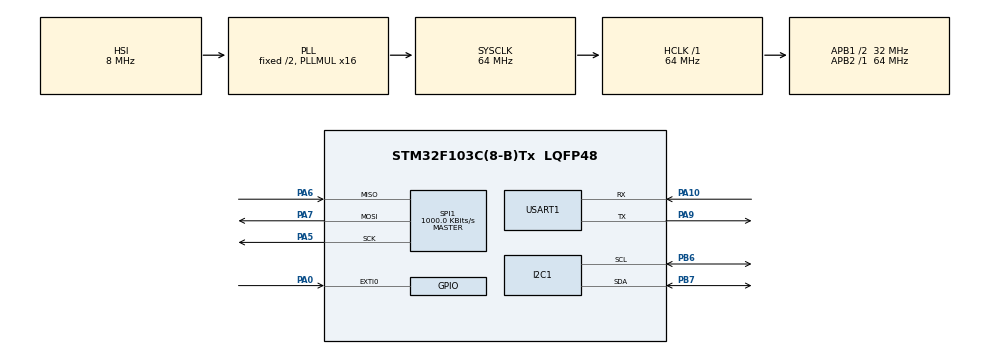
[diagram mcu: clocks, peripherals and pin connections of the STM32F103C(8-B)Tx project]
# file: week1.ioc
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FREERTOS.BinarySemaphores01=SensorSem,Dynamic,NULL,Depleted
FREERTOS.Events01=DisplayEvent,Dynamic,NULL
FREERTOS.Queues01=sensorQueue,1,12,1,Dynamic,NULL,NULL;shellQueue,4,32,1,Dynamic,NULL,NULL
FREERTOS.Tasks01=SensorTask,24,512,StartSensorTask,Default,NULL,Dynamic,NULL,NULL;DisplayTask,16,512,StartDisplayTask,Default,NULL,Dynamic,NULL,NULL;MonitorTask,8,256,StartMonitorTask,Default,NULL,Dynamic,NULL,NULL;ShellTask,8,256,StartShellTask,Default,NULL,Dynamic,NULL,NULL
FREERTOS.Timers01=SensorTimer,SensorTimerCallback,osTimerPeriodic,Default,NULL,Dynamic,NULL
FREERTOS.configTOTAL_HEAP_SIZE=8192
Mcu.Family=STM32F1
Mcu.Name=STM32F103C(8-B)Tx
Mcu.Package=LQFP48
NVIC.EXTI0_IRQn=true\:5\:0\:false\:false\:true\:true\:true\:true\:true
NVIC.PriorityGroup=NVIC_PRIORITYGROUP_4
NVIC.TIM2_IRQn=true\:15\:0\:false\:false\:true\:false\:false\:true\:true
NVIC.TimeBase=TIM2_IRQn
NVIC.TimeBaseIP=TIM2
NVIC.USART1_IRQn=true\:5\:0\:false\:false\:true\:true\:true\:true\:true
PA0-WKUP.GPIO_ModeDefaultEXTI=GPIO_MODE_IT_FALLING
PA0-WKUP.GPIO_PuPd=GPIO_PULLUP
PA0-WKUP.Signal=GPXTI0
PA10.Mode=Asynchronous
PA10.Signal=USART1_RX
PA13.Mode=Serial_Wire
PA13.Signal=SYS_JTMS-SWDIO
PA14.Mode=Serial_Wire
PA14.Signal=SYS_JTCK-SWCLK
PA5.Mode=Full_Duplex_Master
PA5.Signal=SPI1_SCK
PA6.Mode=Full_Duplex_Master
PA6.Signal=SPI1_MISO
PA7.Mode=Full_Duplex_Master
PA7.Signal=SPI1_MOSI
PA9.Mode=Asynchronous
PA9.Signal=USART1_TX
PB6.Mode=I2C
PB6.Signal=I2C1_SCL
PB7.Mode=I2C
PB7.Signal=I2C1_SDA
ProjectManager.HeapSize=0x200
ProjectManager.StackSize=0x400
ProjectManager.TargetToolchain=CMake
RCC.AHBFreq_Value=64000000
RCC.APB1CLKDivider=RCC_HCLK_DIV2
RCC.APB1Freq_Value=32000000
RCC.APB1TimFreq_Value=64000000
RCC.APB2Freq_Value=64000000
RCC.APB2TimFreq_Value=64000000
RCC.HCLKFreq_Value=64000000
RCC.PLLMUL=RCC_PLL_MUL16
RCC.SYSCLKFreq_VALUE=64000000
RCC.SYSCLKSource=RCC_SYSCLKSOURCE_PLLCLK
RCC.USBFreq_Value=64000000
SPI1.BaudRatePrescaler=SPI_BAUDRATEPRESCALER_64
SPI1.CalculateBaudRate=1000.0 KBits/s
SPI1.Direction=SPI_DIRECTION_2LINES
SPI1.Mode=SPI_MODE_MASTER
SPI1.VirtualType=VM_MASTER
USART1.VirtualMode=VM_ASYNC
VP_FREERTOS_VS_CMSIS_V2.Mode=CMSIS_V2
VP_SYS_VS_tim2.Mode=TIM2
board=custom

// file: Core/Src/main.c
/* USER CODE BEGIN Header */
/**
  ******************************************************************************
  * @file           : main.c
  * @brief          : Main program body
  ******************************************************************************
  * @attention
  *
  * Copyright (c) 2026 STMicroelectronics.
  * All rights reserved.
  *
  * This software is licensed under terms that can be found in the LICENSE file
  * in the root directory of this software component.
  * If no LICENSE file comes with this software, it is provided AS-IS.
  *
  ******************************************************************************
  */
/* USER CODE END Header */
#include "main.h"
#include "cmsis_os.h"
#include "i2c.h"
#include "spi.h"
#include "usart.h"
#include "gpio.h"

/* USER CODE BEGIN Includes */
#include <stdio.h>
#include <stdlib.h>

#include "app_config.h"
#include "bme280.h"
#include "oled.h"
#include "app_shared.h"

/* USER CODE END Includes */

/* USER CODE BEGIN PV */
uint32_t g_lastKeyTick = 0;
/* USER CODE END PV */

void SystemClock_Config(void);
void MX_FREERTOS_Init(void);

/* USER CODE BEGIN 0 */
void I2C_Scan(void);

/* USER CODE END 0 */

int main(void)
{

  /* MCU Configuration--------------------------------------------------------*/

  /* Reset of all peripherals, Initializes the Flash interface and the Systick. */
  HAL_Init();

  /* Configure the system clock */
  SystemClock_Config();

  /* Initialize all configured peripherals */
  MX_GPIO_Init();
  MX_I2C1_Init();
  MX_SPI1_Init();
  MX_USART1_UART_Init();
  /* USER CODE BEGIN 2 */
  BME280_Init();
  OLED_Init();
  OLED_Clear();
  Config_Init();

  /* USER CODE END 2 */

  /* Init scheduler */
  osKernelInitialize();  /* Call init function for freertos objects (in cmsis_os2.c) */
  MX_FREERTOS_Init();

  /* Start scheduler */
  osKernelStart();

  /* We should never get here as control is now taken by the scheduler */

  /* Infinite loop */
  while(1)
  {

  }
}

void SystemClock_Config(void)
{
  RCC_OscInitTypeDef RCC_OscInitStruct = {0};
  RCC_ClkInitTypeDef RCC_ClkInitStruct = {0};

  /** Initializes the RCC Oscillators according to the specified parameters
  * in the RCC_OscInitTypeDef structure.
  */
  RCC_OscInitStruct.OscillatorType = RCC_OSCILLATORTYPE_HSI;
  RCC_OscInitStruct.HSIState = RCC_HSI_ON;
  RCC_OscInitStruct.HSICalibrationValue = RCC_HSICALIBRATION_DEFAULT;
  RCC_OscInitStruct.PLL.PLLState = RCC_PLL_ON;
  RCC_OscInitStruct.PLL.PLLSource = RCC_PLLSOURCE_HSI_DIV2;
  RCC_OscInitStruct.PLL.PLLMUL = RCC_PLL_MUL16;
  if (HAL_RCC_OscConfig(&RCC_OscInitStruct) != HAL_OK)
  {
    Error_Handler();
  }

  /** Initializes the CPU, AHB and APB buses clocks
  */
  RCC_ClkInitStruct.ClockType = RCC_CLOCKTYPE_HCLK|RCC_CLOCKTYPE_SYSCLK
                              |RCC_CLOCKTYPE_PCLK1|RCC_CLOCKTYPE_PCLK2;
  RCC_ClkInitStruct.SYSCLKSource = RCC_SYSCLKSOURCE_PLLCLK;
  RCC_ClkInitStruct.AHBCLKDivider = RCC_SYSCLK_DIV1;
  RCC_ClkInitStruct.APB1CLKDivider = RCC_HCLK_DIV2;
  RCC_ClkInitStruct.APB2CLKDivider = RCC_HCLK_DIV1;

  if (HAL_RCC_ClockConfig(&RCC_ClkInitStruct, FLASH_LATENCY_2) != HAL_OK)
  {
    Error_Handler();
  }
}

/* USER CODE BEGIN 4 */
void I2C_Scan(void)
{
  for(uint8_t addr = 1; addr < 128; addr++)
  {
    if(HAL_I2C_IsDeviceReady(
            &hi2c1,
            addr << 1,
            2,
            10) == HAL_OK)
    {
      printf("Found:0x%02X\r\n", addr);
    }
  }
}

void HAL_GPIO_EXTI_Callback(uint16_t GPIO_Pin)
{
  if(GPIO_Pin == GPIO_PIN_0)
  {
    uint32_t now = HAL_GetTick();

    if(now - g_lastKeyTick < 50)
    {
      return;
    }

    g_lastKeyTick = now;

    osEventFlagsSet(
        DisplayEventHandle,
        DISPLAY_EVENT_KEY);
  }
}

/* USER CODE END 4 */

void HAL_TIM_PeriodElapsedCallback(TIM_HandleTypeDef *htim)
{
  if (htim->Instance == TIM2)
  {
    HAL_IncTick();
  }
}

void Error_Handler(void)
{
  __disable_irq();
  while (1)
  {
  }
}

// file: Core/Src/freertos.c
/* USER CODE BEGIN Header */
/**
  ******************************************************************************
  * File Name          : freertos.c
  * Description        : Code for freertos applications
  ******************************************************************************
  * @attention
  *
  * Copyright (c) 2026 STMicroelectronics.
  * All rights reserved.
  *
  * This software is licensed under terms that can be found in the LICENSE file
  * in the root directory of this software component.
  * If no LICENSE file comes with this software, it is provided AS-IS.
  *
  ******************************************************************************
  */
/* USER CODE END Header */

#include "FreeRTOS.h"
#include "task.h"
#include "main.h"
#include "cmsis_os.h"

/* USER CODE BEGIN Includes */
#include <stdio.h>

#include "app_display.h"
#include "app_logger.h"
#include "app_sensor.h"
#include "bme280.h"
#include "app_shared.h"
#include "app_shell.h"
#include "oled.h"

/* USER CODE END Includes */

/* USER CODE BEGIN Variables */

osMutexId_t I2CMutex;

volatile uint8_t g_displayPage = 0;

static StaticTask_t SensorTaskControlBlock;
static StackType_t SensorTaskStack[512];
static StaticTask_t DisplayTaskControlBlock;
static StackType_t DisplayTaskStack[512];
static StaticQueue_t SensorQueueControlBlock;
static uint8_t SensorQueueStorage[sizeof(BME280_Data_t)];
/* USER CODE END Variables */
/* Definitions for SensorTask */
osThreadId_t SensorTaskHandle;
const osThreadAttr_t SensorTask_attributes = {
  .name = "SensorTask",
  .stack_size = 512 * 4,
  .priority = (osPriority_t) osPriorityNormal,
};
/* Definitions for DisplayTask */
osThreadId_t DisplayTaskHandle;
const osThreadAttr_t DisplayTask_attributes = {
  .name = "DisplayTask",
  .stack_size = 512 * 4,
  .priority = (osPriority_t) osPriorityBelowNormal,
};
/* Definitions for MonitorTask */
osThreadId_t MonitorTaskHandle;
const osThreadAttr_t MonitorTask_attributes = {
  .name = "MonitorTask",
  .stack_size = 256 * 4,
  .priority = (osPriority_t) osPriorityLow,
};
/* Definitions for ShellTask */
osThreadId_t ShellTaskHandle;
const osThreadAttr_t ShellTask_attributes = {
  .name = "ShellTask",
  .stack_size = 256 * 4,
  .priority = (osPriority_t) osPriorityLow,
};
/* Definitions for sensorQueue */
osMessageQueueId_t sensorQueueHandle;
const osMessageQueueAttr_t sensorQueue_attributes = {
  .name = "sensorQueue"
};
/* Definitions for shellQueue */
osMessageQueueId_t shellQueueHandle;
const osMessageQueueAttr_t shellQueue_attributes = {
  .name = "shellQueue"
};
/* Definitions for SensorTimer */
osTimerId_t SensorTimerHandle;
const osTimerAttr_t SensorTimer_attributes = {
  .name = "SensorTimer"
};
/* Definitions for SensorSem */
osSemaphoreId_t SensorSemHandle;
const osSemaphoreAttr_t SensorSem_attributes = {
  .name = "SensorSem"
};
/* Definitions for DisplayEvent */
osEventFlagsId_t DisplayEventHandle;
const osEventFlagsAttr_t DisplayEvent_attributes = {
  .name = "DisplayEvent"
};

/* USER CODE BEGIN FunctionPrototypes */
static void CheckThreadCreated(osThreadId_t thread, const char *name);

/* USER CODE END FunctionPrototypes */

void StartSensorTask(void *argument);
void StartDisplayTask(void *argument);
void StartMonitorTask(void *argument);
void StartShellTask(void *argument);
void SensorTimerCallback(void *argument);

void MX_FREERTOS_Init(void); /* (MISRA C 2004 rule 8.1) */

void MX_FREERTOS_Init(void) {

  /* USER CODE BEGIN RTOS_MUTEX */
  /* add mutexes, ... */
  const osMutexAttr_t I2CMutex_attributes =
  {
    .name = "I2CMutex"
};

  I2CMutex = osMutexNew(&I2CMutex_attributes);
  if (I2CMutex == NULL)
  {
    Error_Handler();
  }
  /* USER CODE END RTOS_MUTEX */

  /* Create the semaphores(s) */
  /* creation of SensorSem */
  SensorSemHandle = osSemaphoreNew(1, 0, &SensorSem_attributes);

  /* Create the timer(s) */
  /* creation of SensorTimer */
  SensorTimerHandle = osTimerNew(SensorTimerCallback, osTimerPeriodic, NULL, &SensorTimer_attributes);

  /* Create the queue(s) */
  /* creation of sensorQueue */
  sensorQueueHandle = osMessageQueueNew (1, 12, &sensorQueue_attributes);

  /* creation of shellQueue */
  shellQueueHandle = osMessageQueueNew (4, 32, &shellQueue_attributes);

  /* USER CODE BEGIN RTOS_QUEUES */
  if(sensorQueueHandle == NULL)
  {
    printf("Queue Create Failed\r\n");
    Error_Handler();
  }
  else
  {
    printf("Queue Create OK\r\n");
  }
  /* add queues, ... */
  /* USER CODE END RTOS_QUEUES */

  /* Create the thread(s) */
  /* creation of SensorTask */
  SensorTaskHandle = osThreadNew(StartSensorTask, NULL, &SensorTask_attributes);

  /* creation of DisplayTask */
  DisplayTaskHandle = osThreadNew(StartDisplayTask, NULL, &DisplayTask_attributes);

  /* creation of MonitorTask */
  //MonitorTaskHandle = osThreadNew(StartMonitorTask, NULL, &MonitorTask_attributes);

  /* creation of ShellTask */
  ShellTaskHandle = osThreadNew(StartShellTask, NULL, &ShellTask_attributes);

  /* USER CODE BEGIN RTOS_THREADS */
  /* add threads, ... */
  osTimerStart(
    SensorTimerHandle,
    1000);

  CheckThreadCreated(SensorTaskHandle, "SensorTask");
  CheckThreadCreated(DisplayTaskHandle, "DisplayTask");
  /* USER CODE END RTOS_THREADS */

  /* Create the event(s) */
  /* creation of DisplayEvent */
  DisplayEventHandle = osEventFlagsNew(&DisplayEvent_attributes);

}

void StartSensorTask(void *argument)
{
  /* USER CODE BEGIN StartSensorTask */
  BME280_Data_t txData;
  /* Infinite loop */
  for(;;)
  {

    osSemaphoreAcquire(
        SensorSemHandle,
        osWaitForever);

    APP_SensorRead(&txData);

    g_latestData = txData;

    Logger_Record(&txData);

    osMessageQueuePut(
      sensorQueueHandle,
      &txData,
      0,
      0
      );

  }
  /* USER CODE END StartSensorTask */
}

void StartDisplayTask(void *argument)
{
  /* USER CODE BEGIN StartDisplayTask */
  BME280_Data_t rxData;
  uint32_t flags;
  static uint8_t lastPage = 255;
  /* Infinite loop */
  for (;;)
  {
    flags = osEventFlagsGet(DisplayEventHandle);

    if(flags & DISPLAY_EVENT_KEY)
    {
      osEventFlagsClear(
          DisplayEventHandle,
          DISPLAY_EVENT_KEY);

      g_displayPage ^= 1;

      printf(
          "Page=%d\r\n",
          g_displayPage);
    }

    if (
        osMessageQueueGet(
            sensorQueueHandle,
            &rxData,
            NULL,
            500
        ) == osOK
    )
      {
      if(lastPage != g_displayPage)
      {
        OLED_Clear();

        lastPage = g_displayPage;
      }

      if(g_displayPage == 0)
      {
        APP_DisplayUpdate(&rxData);
      }
      else
      {
        APP_DisplayShowStack(
            osThreadGetStackSpace(
                SensorTaskHandle),

            osThreadGetStackSpace(
                DisplayTaskHandle));
      }
      }
    }

  /* USER CODE END StartDisplayTask */
}

void StartMonitorTask(void *argument)
{
  /* USER CODE BEGIN StartMonitorTask */
  /* Infinite loop */
  for(;;)
  {
    printf("\r\n");
    printf("===== Task Monitor =====\r\n");

    printf(
        "SensorTask  Stack : %lu\r\n",
        osThreadGetStackSpace(
            SensorTaskHandle));

    printf(
        "DisplayTask Stack : %lu\r\n",
        osThreadGetStackSpace(
            DisplayTaskHandle));

    printf("========================\r\n");

    osDelay(5000);
  }
  /* USER CODE END StartMonitorTask */
}

void StartShellTask(void *argument)
{
  /* USER CODE BEGIN StartShellTask */
  char cmd[32];
  /* Infinite loop */
  for(;;)
  {
    if(osMessageQueueGet(
                shellQueueHandle,
                cmd,
                NULL,
                osWaitForever) == osOK)
    {
      APP_ShellProcess(cmd);
    }
  }
  /* USER CODE END StartShellTask */
}

/* SensorTimerCallback function */
void SensorTimerCallback(void *argument)
{
  /* USER CODE BEGIN SensorTimerCallback */

  osSemaphoreRelease(SensorSemHandle);
  /* USER CODE END SensorTimerCallback */
}

/* USER CODE BEGIN Application */
static void CheckThreadCreated(osThreadId_t thread, const char *name)
{
  if (thread == NULL)
  {
    printf("Create %s failed\r\n", name);
    Error_Handler();
  }
}

/* USER CODE END Application */
